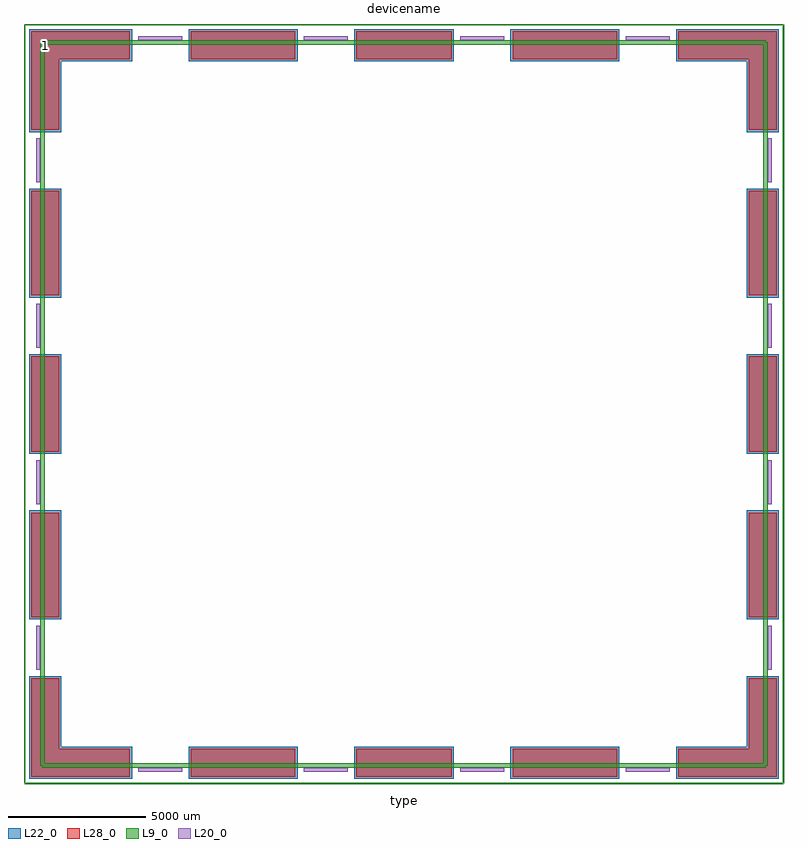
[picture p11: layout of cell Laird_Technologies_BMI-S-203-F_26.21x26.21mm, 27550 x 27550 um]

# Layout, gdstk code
import gdstk
lib = gdstk.Library(unit=1e-6, precision=1e-09)
def R(c, l, rs):  # rectangles x0, y0, x1, y1
    for r in rs: c.add(gdstk.rectangle(r[:2], r[2:], *l))
L9_0 = (9, 0)
L20_0 = (20, 0)
L22_0 = (22, 0)
L28_0 = (28, 0)

laird_technologies_bmi_s = lib.new_cell('Laird_Technologies_BMI-S-203-F_26.21x26.21mm')
R(laird_technologies_bmi_s, L22_0, [(-13580,-13580,-12430,-12430), (-12580,-13580,-9860,-12430), (-7810,-13580,-3860,-12430), (-1810,-13580,1810,-12430), (3860,-13580,7810,-12430), (9860,-13580,12580,-12430), (12430,-13580,13580,-12430), (-13580,-12580,-12430,-9860), (12430,-12580,13580,-9860), (-13580,-7810,-12430,-3860), (12430,-7810,13580,-3860), (-13580,-1810,-12430,1810), (12430,-1810,13580,1810), (-13580,3860,-12430,7810), (12430,3860,13580,7810), (-13580,9860,-12430,12580), (12430,9860,13580,12580), (-13580,12430,-12430,13580), (-12580,12430,-9860,13580), (-7810,12430,-3860,13580), (-1810,12430,1810,13580), (3860,12430,7810,13580), (9860,12430,12580,13580), (12430,12430,13580,13580)])
R(laird_technologies_bmi_s, L28_0, [(-13505,-13505,-12505,-12505), (-12505,-13505,-9935,-12505), (-7735,-13505,-3935,-12505), (-1735,-13505,1735,-12505), (3935,-13505,7735,-12505), (9935,-13505,12505,-12505), (12505,-13505,13505,-12505), (-13505,-12505,-12505,-9935), (12505,-12505,13505,-9935), (-13505,-7735,-12505,-3935), (12505,-7735,13505,-3935), (-13505,-1735,-12505,1735), (12505,-1735,13505,1735), (-13505,3935,-12505,7735), (12505,3935,13505,7735), (-13505,9935,-12505,12505), (12505,9935,13505,12505), (-13505,12505,-12505,13505), (-12505,12505,-9935,13505), (-7735,12505,-3935,13505), (-1735,12505,1735,13505), (3935,12505,7735,13505), (9935,12505,12505,13505), (12505,12505,13505,13505)])
laird_technologies_bmi_s.add(gdstk.FlexPath([(13255,-8035),(13255,-9635)], 149.998, ends="flush", simple_path=True, layer=20, datatype=0))  # L20_0
laird_technologies_bmi_s.add(gdstk.FlexPath([(-13255,-8035),(-13255,-9635)], 149.998, ends="flush", simple_path=True, layer=20, datatype=0))  # L20_0
laird_technologies_bmi_s.add(gdstk.FlexPath([(13255,-2035),(13255,-3635)], 149.998, ends="flush", simple_path=True, layer=20, datatype=0))  # L20_0
laird_technologies_bmi_s.add(gdstk.FlexPath([(-13255,-2035),(-13255,-3635)], 149.998, ends="flush", simple_path=True, layer=20, datatype=0))  # L20_0
laird_technologies_bmi_s.add(gdstk.FlexPath([(13255,3635),(13255,2035)], 149.998, ends="flush", simple_path=True, layer=20, datatype=0))  # L20_0
laird_technologies_bmi_s.add(gdstk.FlexPath([(-13255,3635),(-13255,2035)], 149.998, ends="flush", simple_path=True, layer=20, datatype=0))  # L20_0
laird_technologies_bmi_s.add(gdstk.FlexPath([(13255,9635),(13255,8035)], 149.998, ends="flush", simple_path=True, layer=20, datatype=0))  # L20_0
laird_technologies_bmi_s.add(gdstk.FlexPath([(-13255,9635),(-13255,8035)], 149.998, ends="flush", simple_path=True, layer=20, datatype=0))  # L20_0
laird_technologies_bmi_s.add(gdstk.FlexPath([(8035,-13255),(9635,-13255)], 149.998, ends="flush", simple_path=True, layer=20, datatype=0))  # L20_0
laird_technologies_bmi_s.add(gdstk.FlexPath([(8035,13255),(9635,13255)], 149.998, ends="flush", simple_path=True, layer=20, datatype=0))  # L20_0
laird_technologies_bmi_s.add(gdstk.FlexPath([(2035,-13255),(3635,-13255)], 149.998, ends="flush", simple_path=True, layer=20, datatype=0))  # L20_0
laird_technologies_bmi_s.add(gdstk.FlexPath([(2035,13255),(3635,13255)], 149.998, ends="flush", simple_path=True, layer=20, datatype=0))  # L20_0
laird_technologies_bmi_s.add(gdstk.FlexPath([(-3635,-13255),(-2035,-13255)], 149.998, ends="flush", simple_path=True, layer=20, datatype=0))  # L20_0
laird_technologies_bmi_s.add(gdstk.FlexPath([(-3635,13255),(-2035,13255)], 149.998, ends="flush", simple_path=True, layer=20, datatype=0))  # L20_0
laird_technologies_bmi_s.add(gdstk.FlexPath([(-9635,-13255),(-8035,-13255)], 149.998, ends="flush", simple_path=True, layer=20, datatype=0))  # L20_0
laird_technologies_bmi_s.add(gdstk.FlexPath([(-9635,13255),(-8035,13255)], 149.998, ends="flush", simple_path=True, layer=20, datatype=0))  # L20_0
laird_technologies_bmi_s.add(gdstk.FlexPath([(13105,13105),(-13105,13105)], 149.998, ends="flush", simple_path=True, layer=9, datatype=0))  # L9_0
laird_technologies_bmi_s.add(gdstk.FlexPath([(13105,-13105),(13105,13105)], 149.998, ends="flush", simple_path=True, layer=9, datatype=0))  # L9_0
laird_technologies_bmi_s.add(gdstk.FlexPath([(-13105,-13105),(13105,-13105)], 149.998, ends="flush", simple_path=True, layer=9, datatype=0))  # L9_0
laird_technologies_bmi_s.add(gdstk.FlexPath([(-13105,13105),(-13105,-13105)], 149.998, ends="flush", simple_path=True, layer=9, datatype=0))  # L9_0
laird_technologies_bmi_s.add(gdstk.FlexPath([(13750,13750),(-13750,13750)], 50, ends="flush", simple_path=True, layer=9, datatype=0))  # L9_0
laird_technologies_bmi_s.add(gdstk.FlexPath([(13750,-13750),(13750,13750)], 50, ends="flush", simple_path=True, layer=9, datatype=0))  # L9_0
laird_technologies_bmi_s.add(gdstk.FlexPath([(-13750,-13750),(13750,-13750)], 50, ends="flush", simple_path=True, layer=9, datatype=0))  # L9_0
laird_technologies_bmi_s.add(gdstk.FlexPath([(-13750,13750),(-13750,-13750)], 50, ends="flush", simple_path=True, layer=9, datatype=0))  # L9_0
laird_technologies_bmi_s.add(gdstk.Label('1', (-13005,13005), layer=28, texttype=0))
laird_technologies_bmi_s.add(gdstk.Label('type', (0,-14505), layer=9, texttype=0))
laird_technologies_bmi_s.add(gdstk.Label('devicename', (0,14505), layer=9, texttype=0))

lib.write_gds('Laird_Technologies_BMI-S-203-F_26.21x26.21mm.gds')
